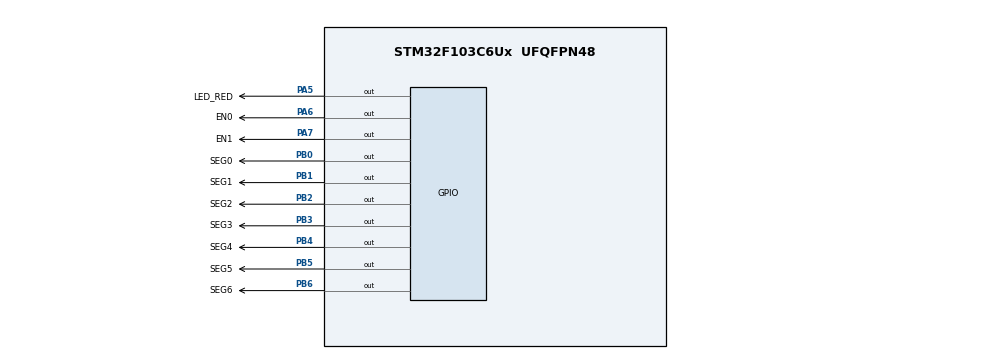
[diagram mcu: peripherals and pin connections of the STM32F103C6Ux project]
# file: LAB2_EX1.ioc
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Mcu.Family=STM32F1
Mcu.Name=STM32F103C6Ux
Mcu.Package=UFQFPN48
NVIC.PriorityGroup=NVIC_PRIORITYGROUP_4
NVIC.TIM2_IRQn=true\:0\:0\:false\:false\:true\:true\:true
PA5.GPIO_Label=LED_RED
PA5.Signal=GPIO_Output
PA6.GPIO_Label=EN0
PA6.Signal=GPIO_Output
PA7.GPIO_Label=EN1
PA7.Signal=GPIO_Output
PB0.GPIO_Label=SEG0
PB0.Signal=GPIO_Output
PB1.GPIO_Label=SEG1
PB1.Signal=GPIO_Output
PB2.GPIO_Label=SEG2
PB2.Signal=GPIO_Output
PB3.GPIO_Label=SEG3
PB3.Signal=GPIO_Output
PB4.GPIO_Label=SEG4
PB4.Signal=GPIO_Output
PB5.GPIO_Label=SEG5
PB5.Signal=GPIO_Output
PB6.GPIO_Label=SEG6
PB6.Signal=GPIO_Output
ProjectManager.HeapSize=0x200
ProjectManager.StackSize=0x400
ProjectManager.TargetToolchain=STM32CubeIDE
RCC.APB1Freq_Value=8000000
RCC.APB2Freq_Value=8000000
TIM2.Period=9
TIM2.Prescaler=7999
VP_SYS_VS_ND.Mode=No_Debug
VP_TIM2_VS_ClockSourceINT.Mode=Internal
board=custom

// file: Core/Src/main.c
/* USER CODE BEGIN Header */
/**
  ******************************************************************************
  * @file           : main.c
  * @brief          : Main program body
  ******************************************************************************
  * @attention
  *
  * <h2><center>&copy; Copyright (c) 2025 STMicroelectronics.
  * All rights reserved.</center></h2>
  *
  * This software component is licensed by ST under BSD 3-Clause license,
  * the "License"; You may not use this file except in compliance with the
  * License. You may obtain a copy of the License at:
  *                        opensource.org/licenses/BSD-3-Clause
  *
  ******************************************************************************
  */
/* USER CODE END Header */
#include "main.h"

/* USER CODE BEGIN Includes */
#include "software_timer.h"
/* USER CODE END Includes */

TIM_HandleTypeDef htim2;

/* USER CODE BEGIN PV */
unsigned char tbl7seg [] = {0xC0, 0xF9, 0xA4, 0xB0, 0x99, 0x92, 0x82, 0xF8, 0x80, 0x90};
int currentLED = 0;
/* USER CODE END PV */

void SystemClock_Config(void);
static void MX_GPIO_Init(void);
static void MX_TIM2_Init(void);

/* USER CODE BEGIN 0 */
void display7SEG(int num);

/* USER CODE END 0 */

int main(void)
{

  /* MCU Configuration--------------------------------------------------------*/

  /* Reset of all peripherals, Initializes the Flash interface and the Systick. */
  HAL_Init();

  /* Configure the system clock */
  SystemClock_Config();

  /* Initialize all configured peripherals */
  MX_GPIO_Init();
  MX_TIM2_Init();
  /* USER CODE BEGIN 2 */
  HAL_TIM_Base_Start_IT(&htim2);
  /* USER CODE END 2 */

  /* Infinite loop */
  /* USER CODE BEGIN WHILE */
  setTimer1(100);
  setTimer2(50);
  while (1)
  {
	  if (timer1_flag == 1){
		  setTimer1(100);
		  HAL_GPIO_TogglePin(LED_RED_GPIO_Port, LED_RED_Pin);
	  }

	  if (timer2_flag == 1) {
		  setTimer2(50); // reset lại 0.5s

		  // Tắt tất cả trước (common anode, tắt = SET)
		  HAL_GPIO_WritePin(GPIOA, EN0_Pin|EN1_Pin, GPIO_PIN_SET);

		  if (currentLED == 0) {
			  display7SEG(1);
			  HAL_GPIO_WritePin(GPIOA, EN0_Pin, GPIO_PIN_RESET); // bật LED1
			  currentLED = 1;
		  } else {
			  display7SEG(2);
			  HAL_GPIO_WritePin(GPIOA, EN1_Pin, GPIO_PIN_RESET); // bật LED2
			  currentLED = 0;
		  }
	  }
    /* USER CODE END WHILE */

  }
}

void SystemClock_Config(void)
{
  RCC_OscInitTypeDef RCC_OscInitStruct = {0};
  RCC_ClkInitTypeDef RCC_ClkInitStruct = {0};

  /** Initializes the RCC Oscillators according to the specified parameters
  * in the RCC_OscInitTypeDef structure.
  */
  RCC_OscInitStruct.OscillatorType = RCC_OSCILLATORTYPE_HSI;
  RCC_OscInitStruct.HSIState = RCC_HSI_ON;
  RCC_OscInitStruct.HSICalibrationValue = RCC_HSICALIBRATION_DEFAULT;
  RCC_OscInitStruct.PLL.PLLState = RCC_PLL_NONE;
  if (HAL_RCC_OscConfig(&RCC_OscInitStruct) != HAL_OK)
  {
    Error_Handler();
  }
  /** Initializes the CPU, AHB and APB buses clocks
  */
  RCC_ClkInitStruct.ClockType = RCC_CLOCKTYPE_HCLK|RCC_CLOCKTYPE_SYSCLK
                              |RCC_CLOCKTYPE_PCLK1|RCC_CLOCKTYPE_PCLK2;
  RCC_ClkInitStruct.SYSCLKSource = RCC_SYSCLKSOURCE_HSI;
  RCC_ClkInitStruct.AHBCLKDivider = RCC_SYSCLK_DIV1;
  RCC_ClkInitStruct.APB1CLKDivider = RCC_HCLK_DIV1;
  RCC_ClkInitStruct.APB2CLKDivider = RCC_HCLK_DIV1;

  if (HAL_RCC_ClockConfig(&RCC_ClkInitStruct, FLASH_LATENCY_0) != HAL_OK)
  {
    Error_Handler();
  }
}

static void MX_TIM2_Init(void)
{

  TIM_ClockConfigTypeDef sClockSourceConfig = {0};
  TIM_MasterConfigTypeDef sMasterConfig = {0};

  htim2.Instance = TIM2;
  htim2.Init.Prescaler = 7999;
  htim2.Init.CounterMode = TIM_COUNTERMODE_UP;
  htim2.Init.Period = 9;
  htim2.Init.ClockDivision = TIM_CLOCKDIVISION_DIV1;
  htim2.Init.AutoReloadPreload = TIM_AUTORELOAD_PRELOAD_DISABLE;
  if (HAL_TIM_Base_Init(&htim2) != HAL_OK)
  {
    Error_Handler();
  }
  sClockSourceConfig.ClockSource = TIM_CLOCKSOURCE_INTERNAL;
  if (HAL_TIM_ConfigClockSource(&htim2, &sClockSourceConfig) != HAL_OK)
  {
    Error_Handler();
  }
  sMasterConfig.MasterOutputTrigger = TIM_TRGO_RESET;
  sMasterConfig.MasterSlaveMode = TIM_MASTERSLAVEMODE_DISABLE;
  if (HAL_TIMEx_MasterConfigSynchronization(&htim2, &sMasterConfig) != HAL_OK)
  {
    Error_Handler();
  }

}

static void MX_GPIO_Init(void)
{
  GPIO_InitTypeDef GPIO_InitStruct = {0};

  /* GPIO Ports Clock Enable */
  __HAL_RCC_GPIOA_CLK_ENABLE();
  __HAL_RCC_GPIOB_CLK_ENABLE();

  /*Configure GPIO pin Output Level */
  HAL_GPIO_WritePin(GPIOA, LED_RED_Pin|EN0_Pin|EN1_Pin, GPIO_PIN_RESET);

  /*Configure GPIO pin Output Level */
  HAL_GPIO_WritePin(GPIOB, SEG0_Pin|SEG1_Pin|SEG2_Pin|SEG3_Pin
                          |SEG4_Pin|SEG5_Pin|SEG6_Pin, GPIO_PIN_RESET);

  /*Configure GPIO pins : LED_RED_Pin EN0_Pin EN1_Pin */
  GPIO_InitStruct.Pin = LED_RED_Pin|EN0_Pin|EN1_Pin;
  GPIO_InitStruct.Mode = GPIO_MODE_OUTPUT_PP;
  GPIO_InitStruct.Pull = GPIO_NOPULL;
  GPIO_InitStruct.Speed = GPIO_SPEED_FREQ_LOW;
  HAL_GPIO_Init(GPIOA, &GPIO_InitStruct);

  /*Configure GPIO pins : SEG0_Pin SEG1_Pin SEG2_Pin SEG3_Pin
                           SEG4_Pin SEG5_Pin SEG6_Pin */
  GPIO_InitStruct.Pin = SEG0_Pin|SEG1_Pin|SEG2_Pin|SEG3_Pin
                          |SEG4_Pin|SEG5_Pin|SEG6_Pin;
  GPIO_InitStruct.Mode = GPIO_MODE_OUTPUT_PP;
  GPIO_InitStruct.Pull = GPIO_NOPULL;
  GPIO_InitStruct.Speed = GPIO_SPEED_FREQ_LOW;
  HAL_GPIO_Init(GPIOB, &GPIO_InitStruct);

}

/* USER CODE BEGIN 4 */
void HAL_TIM_PeriodElapsedCallback(TIM_HandleTypeDef *htim) {
	timerRun();
}

void display7SEG(int num) {
    if (num < 0 || num > 9) return;
    GPIOB->ODR = (GPIOB->ODR & 0xFF80) | tbl7seg[num];
}
/* USER CODE END 4 */

void Error_Handler(void)
{
  __disable_irq();
  while (1)
  {
  }
}

/************************ (C) COPYRIGHT STMicroelectronics *****END OF FILE****/
